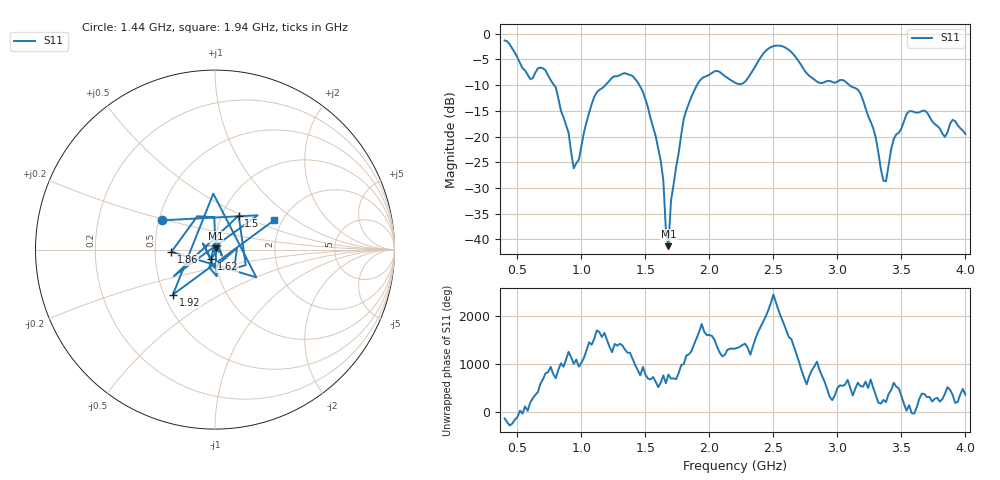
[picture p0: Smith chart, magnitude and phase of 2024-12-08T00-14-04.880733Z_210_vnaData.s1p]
!Created with skrf (http://scikit-rf.org).
# Hz S RI R 50.0
!freq ReS11 ImS11
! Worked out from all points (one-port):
!   181 points, 400 MHz to 4 GHz, reference 50 ohm
!   lowest |S11| = -41.3 dB at 1.68 GHz (marker M1), VSWR 1.02, Z = 50.5 + j0.695 ohm
!   |S11| at or under -10 dB: 786 MHz to 1.188 GHz (401.7 MHz wide, 40.7 % of centre); 1.453 GHz to 1.903 GHz (450.1 MHz wide, 26.8 % of centre); 3.094 GHz to end of sweep
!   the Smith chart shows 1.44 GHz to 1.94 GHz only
!   S11 on the Smith chart (normalised r, x): 1.44 GHz: 0.52, +0.19; 1.5 GHz: 1.20, +0.48; 1.62 GHz: 0.95, -0.10; 1.86 GHz: 0.61, -0.02; 1.92 GHz: 0.56, -0.32; 1.94 GHz: 1.81, +0.68
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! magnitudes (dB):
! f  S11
! 400 MHz  -1.3
! 600 MHz  -8.8
! 720 MHz  -7.2
! 860 MHz  -16.3
! 940 MHz  -26.2
! 1.1 GHz  -12.3
! 1.3 GHz  -8.1
! 1.44 GHz  -9.4
! 1.5 GHz  -12.7
! 1.62 GHz  -24.8
! 1.64 GHz  -28.5
! 1.66 GHz  -38.2
! 1.68 GHz  -41.3
! 1.7 GHz  -32.4
! 1.76 GHz  -23.2
! 1.86 GHz  -12.3
! 1.92 GHz  -9.3
! 1.94 GHz  -8.7
! 2.2 GHz  -9.5
! 2.48 GHz  -2.6
! 2.66 GHz  -4.1
! 2.84 GHz  -9.3
! 3.1 GHz  -10.1
! 3.28 GHz  -18.4
! 3.36 GHz  -28.6
! 3.44 GHz  -20.5
! 3.56 GHz  -15.1
! 4 GHz  -19.5
